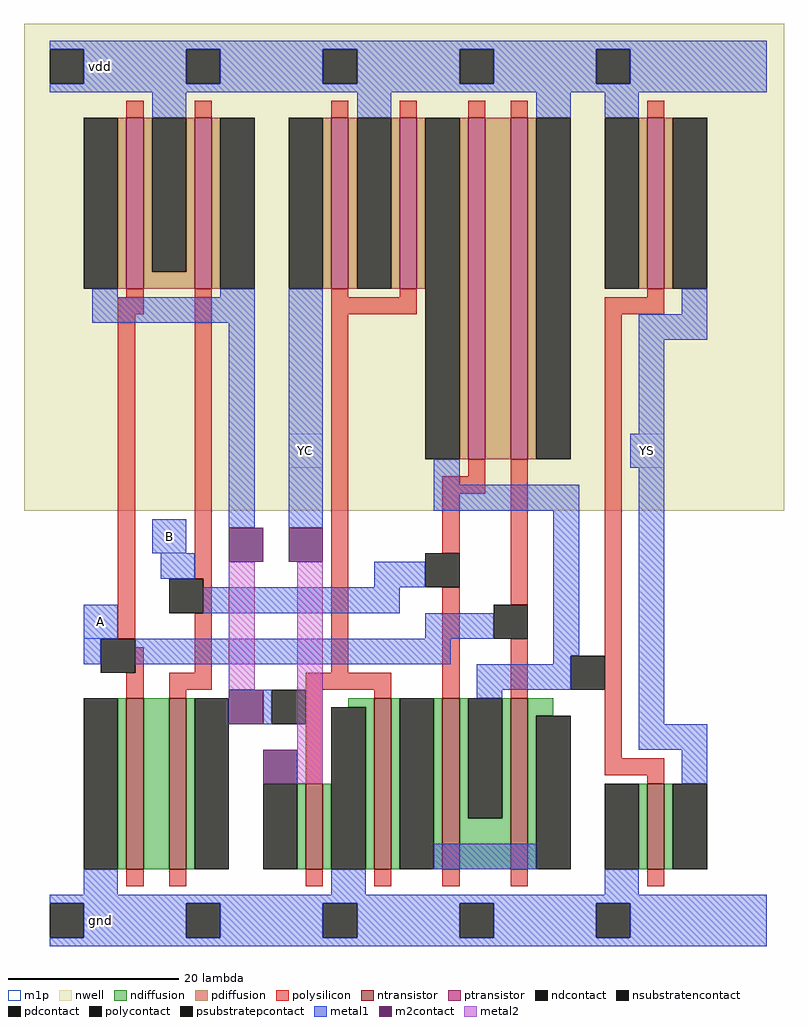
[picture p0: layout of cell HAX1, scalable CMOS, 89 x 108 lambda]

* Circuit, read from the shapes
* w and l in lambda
.subckt HAX1 A B YC YS gnd vdd
M1 n1 A gnd gnd nfet w=20 l=2
M2 n2 B n1 gnd nfet w=20 l=2
M3 gnd n2 YC gnd nfet w=10 l=2
M4 n3 n2 gnd gnd nfet w=20 l=2
M5 n4 B n3 gnd nfet w=20 l=2
M6 n3 A n4 gnd nfet w=20 l=2
M7 YS n4 gnd gnd nfet w=10 l=2
M8 vdd A n2 vdd pfet w=20 l=2
M9 n2 B vdd vdd pfet w=20 l=2
M10 vdd n2 YC vdd pfet w=20 l=2
M11 n4 n2 vdd vdd pfet w=20 l=2
M12 n5 B n4 vdd pfet w=40 l=2
M13 vdd A n5 vdd pfet w=40 l=2
M14 YS n4 vdd vdd pfet w=20 l=2
.ends

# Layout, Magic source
magic
tech scmos
<< nwell >>
rect -5 48 84 105
<< ntransistor >>
rect 7 6 9 26
rect 12 6 14 26
rect 28 6 30 16
rect 36 6 38 26
rect 44 6 46 26
rect 52 6 54 26
rect 68 6 70 16
<< ptransistor >>
rect 7 74 9 94
rect 15 74 17 94
rect 31 74 33 94
rect 39 74 41 94
rect 47 54 49 94
rect 52 54 54 94
rect 68 74 70 94
<< ndiffusion >>
rect 6 6 7 26
rect 9 6 12 26
rect 14 6 15 26
rect 33 25 36 26
rect 27 6 28 16
rect 30 6 31 16
rect 35 6 36 25
rect 38 6 39 26
rect 43 6 44 26
rect 46 12 47 26
rect 51 12 52 26
rect 46 6 52 12
rect 54 24 57 26
rect 54 6 55 24
rect 67 6 68 16
rect 70 6 71 16
<< pdiffusion >>
rect 6 74 7 94
rect 9 76 10 94
rect 14 76 15 94
rect 9 74 15 76
rect 17 74 18 94
rect 30 74 31 94
rect 33 74 34 94
rect 38 74 39 94
rect 41 74 42 94
rect 46 54 47 94
rect 49 54 52 94
rect 54 54 55 94
rect 67 74 68 94
rect 70 74 71 94
<< ndcontact >>
rect 2 6 6 26
rect 15 6 19 26
rect 23 6 27 16
rect 31 6 35 25
rect 39 6 43 26
rect 47 12 51 26
rect 55 6 59 24
rect 63 6 67 16
rect 71 6 75 16
<< pdcontact >>
rect 2 74 6 94
rect 10 76 14 94
rect 18 74 22 94
rect 26 74 30 94
rect 34 74 38 94
rect 42 54 46 94
rect 55 54 59 94
rect 63 74 67 94
rect 71 74 75 94
<< psubstratepcontact >>
rect -2 -2 2 2
rect 14 -2 18 2
rect 30 -2 34 2
rect 46 -2 50 2
rect 62 -2 66 2
<< nsubstratencontact >>
rect -2 98 2 102
rect 14 98 18 102
rect 30 98 34 102
rect 46 98 50 102
rect 62 98 66 102
<< polysilicon >>
rect 7 94 9 96
rect 15 94 17 96
rect 31 94 33 96
rect 39 94 41 96
rect 47 94 49 96
rect 52 94 54 96
rect 68 94 70 96
rect 7 73 9 74
rect 6 71 9 73
rect 6 33 8 71
rect 15 40 17 74
rect 16 36 17 40
rect 8 29 9 32
rect 15 29 17 36
rect 31 73 33 74
rect 39 73 41 74
rect 31 71 41 73
rect 31 29 33 71
rect 68 73 70 74
rect 63 71 70 73
rect 47 52 49 54
rect 44 50 49 52
rect 44 43 46 50
rect 7 26 9 29
rect 12 27 17 29
rect 28 27 38 29
rect 12 26 14 27
rect 28 16 30 27
rect 36 26 38 27
rect 44 26 46 39
rect 52 37 54 54
rect 52 26 54 33
rect 63 19 65 71
rect 63 17 70 19
rect 68 16 70 17
rect 7 4 9 6
rect 12 4 14 6
rect 28 4 30 6
rect 36 4 38 6
rect 44 4 46 6
rect 52 4 54 6
rect 68 4 70 6
<< polycontact >>
rect 12 36 16 40
rect 4 29 8 33
rect 42 39 46 43
rect 24 23 28 27
rect 50 33 54 37
rect 59 27 63 31
<< metal1 >>
rect -2 102 82 103
rect 2 98 14 102
rect 18 98 30 102
rect 34 98 46 102
rect 50 98 62 102
rect 66 98 82 102
rect -2 97 82 98
rect 10 94 14 97
rect 34 94 38 97
rect 55 94 59 97
rect 3 73 6 74
rect 18 73 22 74
rect 3 70 22 73
rect 10 43 14 47
rect 19 46 22 70
rect 26 46 30 74
rect 63 94 67 97
rect 72 71 75 74
rect 67 68 75 71
rect 67 57 70 68
rect 43 51 46 54
rect 66 53 70 57
rect 43 48 60 51
rect 11 40 15 43
rect 2 33 6 37
rect 36 39 42 42
rect 16 36 39 39
rect 42 33 50 36
rect 2 30 4 33
rect 8 30 45 33
rect 57 31 60 48
rect 57 30 59 31
rect 48 27 59 30
rect 23 23 24 27
rect 48 26 51 27
rect 43 6 55 9
rect 67 23 70 53
rect 67 20 75 23
rect 72 16 75 20
rect 2 3 6 6
rect 31 3 35 6
rect 63 3 67 6
rect -2 2 82 3
rect 2 -2 14 2
rect 18 -2 30 2
rect 34 -2 46 2
rect 50 -2 62 2
rect 66 -2 82 2
rect -2 -3 82 -2
<< m2contact >>
rect 19 42 23 46
rect 26 42 30 46
rect 19 23 23 27
rect 23 16 27 20
<< metal2 >>
rect 19 27 22 42
rect 27 16 30 42
<< m1p >>
rect 26 53 30 57
rect 66 53 70 57
rect 10 43 14 47
rect 2 33 6 37
<< labels >>
rlabel metal1 4 100 4 100 5 vdd
rlabel metal1 4 0 4 0 1 gnd
rlabel metal1 28 55 28 55 1 YC
rlabel metal1 4 35 4 35 1 A
rlabel metal1 12 45 12 45 1 B
rlabel metal1 68 55 68 55 1 YS
<< end >>
